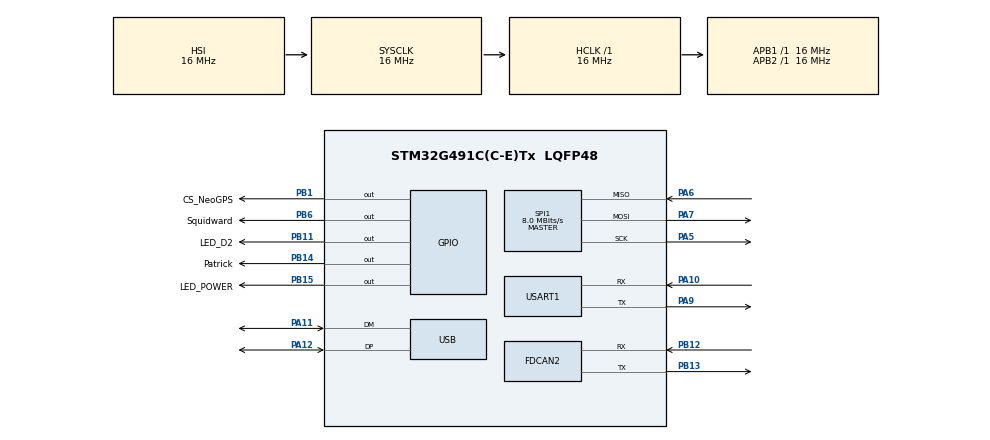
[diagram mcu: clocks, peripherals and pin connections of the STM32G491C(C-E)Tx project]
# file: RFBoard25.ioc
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FDCAN2.CalculateBaudRateNominal=200000
FDCAN2.CalculateTimeBitNominal=5000
FDCAN2.CalculateTimeQuantumNominal=62.5
FDCAN2.DataSyncJumpWidth=4
FDCAN2.DataTimeSeg1=13
FDCAN2.DataTimeSeg2=2
FDCAN2.ExtFiltersNbr=1
FDCAN2.FrameFormat=FDCAN_FRAME_FD_BRS
FDCAN2.NominalPrescaler=1
FDCAN2.NominalTimeSeg1=63
FDCAN2.NominalTimeSeg2=16
FDCAN2.StdFiltersNbr=1
FREERTOS.Tasks01=readData,24,512,StartReadData,Default,NULL,Dynamic,NULL,NULL
FREERTOS.configENABLE_FPU=1
FREERTOS.configTOTAL_HEAP_SIZE=64000
FREERTOS.configUSE_NEWLIB_REENTRANT=1
Mcu.Family=STM32G4
Mcu.Name=STM32G491C(C-E)Tx
Mcu.Package=LQFP48
NVIC.PriorityGroup=NVIC_PRIORITYGROUP_4
NVIC.TIM1_UP_TIM16_IRQn=true\:15\:0\:false\:false\:true\:false\:false\:true\:true
NVIC.TimeBase=TIM1_UP_TIM16_IRQn
NVIC.TimeBaseIP=TIM1
NVIC.USB_LP_IRQn=true\:5\:0\:false\:false\:true\:true\:false\:true\:true
PA10.Mode=Asynchronous
PA10.Signal=USART1_RX
PA11.Mode=Device
PA11.Signal=USB_DM
PA12.Mode=Device
PA12.Signal=USB_DP
PA5.Mode=Full_Duplex_Master
PA5.Signal=SPI1_SCK
PA6.Mode=Full_Duplex_Master
PA6.Signal=SPI1_MISO
PA7.Mode=Full_Duplex_Master
PA7.Signal=SPI1_MOSI
PA9.Mode=Asynchronous
PA9.Signal=USART1_TX
PB1.GPIO_Label=CS_NeoGPS
PB1.Signal=GPIO_Output
PB11.GPIO_Label=LED_D2
PB11.Signal=GPIO_Output
PB12.Mode=FDCAN_Activate
PB12.Signal=FDCAN2_RX
PB13.Mode=FDCAN_Activate
PB13.Signal=FDCAN2_TX
PB14.GPIO_Label=Patrick
PB14.Signal=GPIO_Output
PB15.GPIO_Label=LED_POWER
PB15.Signal=GPIO_Output
PB6.GPIO_Label=Squidward
PB6.Signal=GPIO_Output
PC14-OSC32_IN.Mode=LSE-External-Oscillator
PC14-OSC32_IN.Signal=RCC_OSC32_IN
PC15-OSC32_OUT.Mode=LSE-External-Oscillator
PC15-OSC32_OUT.Signal=RCC_OSC32_OUT
PF0-OSC_IN.Mode=HSE-External-Oscillator
PF0-OSC_IN.Signal=RCC_OSC_IN
PF1-OSC_OUT.Mode=HSE-External-Oscillator
PF1-OSC_OUT.Signal=RCC_OSC_OUT
ProjectManager.HeapSize=0x200
ProjectManager.StackSize=0x400
ProjectManager.TargetToolchain=STM32CubeIDE
RCC.AHBFreq_Value=16000000
RCC.APB1Freq_Value=16000000
RCC.APB1TimFreq_Value=16000000
RCC.APB2Freq_Value=16000000
RCC.APB2TimFreq_Value=16000000
RCC.CortexFreq_Value=16000000
RCC.EXTERNAL_CLOCK_VALUE=12288000
RCC.HCLKFreq_Value=16000000
RCC.HSE_VALUE=8000000
RCC.HSI48_VALUE=48000000
RCC.HSI_VALUE=16000000
RCC.SYSCLKFreq_VALUE=16000000
RCC.VCOOutputFreq_Value=128000000
SPI1.CalculateBaudRate=8.0 MBits/s
SPI1.DataSize=SPI_DATASIZE_8BIT
SPI1.Direction=SPI_DIRECTION_2LINES
SPI1.Mode=SPI_MODE_MASTER
SPI1.VirtualType=VM_MASTER
USART1.VirtualMode-Asynchronous=VM_ASYNC
USB_DEVICE.CLASS_NAME_FS=CDC
USB_DEVICE.VirtualMode=Cdc
USB_DEVICE.VirtualModeFS=Cdc_FS
VP_FREERTOS_VS_CMSIS_V2.Mode=CMSIS_V2
VP_SYS_VS_DBSignals.Mode=DisableDeadBatterySignals
VP_SYS_VS_tim1.Mode=TIM1
VP_USB_DEVICE_VS_USB_DEVICE_CDC_FS.Mode=CDC_FS
board=custom

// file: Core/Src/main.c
/* USER CODE BEGIN Header */
/**
  ******************************************************************************
  * @file           : main.c
  * @brief          : Main program body
  ******************************************************************************
  * @attention
  *
  * Copyright (c) 2025 STMicroelectronics.
  * All rights reserved.
  *
  * This software is licensed under terms that can be found in the LICENSE file
  * in the root directory of this software component.
  * If no LICENSE file comes with this software, it is provided AS-IS.
  *
  ******************************************************************************
  */
/* USER CODE END Header */
#include "main.h"
#include "cmsis_os.h"
#include "usb_device.h"

/* USER CODE BEGIN Includes */
#include "usbd_cdc_if.h"
#include <stdarg.h>
/* USER CODE END Includes */

/* USER CODE BEGIN PD */
#define PRINT_BUFFER_SIZE 256
/* USER CODE END PD */

FDCAN_HandleTypeDef hfdcan2;

SPI_HandleTypeDef hspi1;

UART_HandleTypeDef huart1;

/* Definitions for readData */
osThreadId_t readDataHandle;
const osThreadAttr_t readData_attributes = {
  .name = "readData",
  .priority = (osPriority_t) osPriorityNormal,
  .stack_size = 512 * 4
};

void SystemClock_Config(void);
static void MX_GPIO_Init(void);
static void MX_SPI1_Init(void);
static void MX_USART1_UART_Init(void);
static void MX_FDCAN2_Init(void);
void StartReadData(void *argument);

/* USER CODE BEGIN PFP */
void CDC_Transmit_Print(const char *format, ...)
{
    char buf[PRINT_BUFFER_SIZE];
    va_list  args;
    va_start(args, format);
    int len = vsnprintf(buf, sizeof(buf), format, args);
    va_end(args);
    if (len <= 0) {
        return;
    }
    if (len > (PRINT_BUFFER_SIZE - 1)) {
        len = PRINT_BUFFER_SIZE - 1;
    }
    CDC_Transmit_FS((uint8_t*)buf, (uint16_t)len);
}
/* USER CODE END PFP */

int main(void)
{

  /* MCU Configuration--------------------------------------------------------*/

  /* Reset of all peripherals, Initializes the Flash interface and the Systick. */
  HAL_Init();

  /* Configure the system clock */
  SystemClock_Config();

  /* Initialize all configured peripherals */
  MX_GPIO_Init();
  MX_SPI1_Init();
  MX_USART1_UART_Init();
  MX_FDCAN2_Init();
  HAL_GPIO_WritePin(LED_POWER_GPIO_Port, LED_POWER_Pin, GPIO_PIN_SET);
  /* USER CODE BEGIN 2 */
  FDCAN_FilterTypeDef rxFilter = {
      .IdType       = FDCAN_STANDARD_ID,
      .FilterIndex  = 0,
      .FilterType   = FDCAN_FILTER_MASK,
      .FilterConfig = FDCAN_FILTER_TO_RXFIFO0,
      .FilterID1    = 0x111,
      .FilterID2    = 0x7FF
  };
  if (HAL_FDCAN_ConfigFilter(&hfdcan2, &rxFilter) != HAL_OK) {
      Error_Handler();
  }
  // Start CAN
  if (HAL_FDCAN_Start(&hfdcan2) != HAL_OK) {
      Error_Handler();
  }
  /* USER CODE END 2 */

  /* Init scheduler */
  osKernelInitialize();

  /* Create the thread(s) */
  /* creation of readData */
  readDataHandle = osThreadNew(StartReadData, NULL, &readData_attributes);

  /* Start scheduler */
  osKernelStart();

  /* We should never get here as control is now taken by the scheduler */

  /* Infinite loop */
  while (1)
  {

  }
}

void SystemClock_Config(void)
{
  RCC_OscInitTypeDef RCC_OscInitStruct = {0};
  RCC_ClkInitTypeDef RCC_ClkInitStruct = {0};

  /** Configure the main internal regulator output voltage
  */
  HAL_PWREx_ControlVoltageScaling(PWR_REGULATOR_VOLTAGE_SCALE1);

  /** Initializes the RCC Oscillators according to the specified parameters
  * in the RCC_OscInitTypeDef structure.
  */
  RCC_OscInitStruct.OscillatorType = RCC_OSCILLATORTYPE_HSI|RCC_OSCILLATORTYPE_HSI48;
  RCC_OscInitStruct.HSIState = RCC_HSI_ON;
  RCC_OscInitStruct.HSICalibrationValue = RCC_HSICALIBRATION_DEFAULT;
  RCC_OscInitStruct.HSI48State = RCC_HSI48_ON;
  RCC_OscInitStruct.PLL.PLLState = RCC_PLL_NONE;
  if (HAL_RCC_OscConfig(&RCC_OscInitStruct) != HAL_OK)
  {
    Error_Handler();
  }

  /** Initializes the CPU, AHB and APB buses clocks
  */
  RCC_ClkInitStruct.ClockType = RCC_CLOCKTYPE_HCLK|RCC_CLOCKTYPE_SYSCLK
                              |RCC_CLOCKTYPE_PCLK1|RCC_CLOCKTYPE_PCLK2;
  RCC_ClkInitStruct.SYSCLKSource = RCC_SYSCLKSOURCE_HSI;
  RCC_ClkInitStruct.AHBCLKDivider = RCC_SYSCLK_DIV1;
  RCC_ClkInitStruct.APB1CLKDivider = RCC_HCLK_DIV1;
  RCC_ClkInitStruct.APB2CLKDivider = RCC_HCLK_DIV1;

  if (HAL_RCC_ClockConfig(&RCC_ClkInitStruct, FLASH_LATENCY_0) != HAL_OK)
  {
    Error_Handler();
  }
}

static void MX_FDCAN2_Init(void)
{

  hfdcan2.Instance = FDCAN2;
  hfdcan2.Init.ClockDivider = FDCAN_CLOCK_DIV1;
  hfdcan2.Init.FrameFormat = FDCAN_FRAME_FD_BRS;
  hfdcan2.Init.Mode = FDCAN_MODE_NORMAL;
  hfdcan2.Init.AutoRetransmission = DISABLE;
  hfdcan2.Init.TransmitPause = DISABLE;
  hfdcan2.Init.ProtocolException = DISABLE;
  hfdcan2.Init.NominalPrescaler = 1;
  hfdcan2.Init.NominalSyncJumpWidth = 1;
  hfdcan2.Init.NominalTimeSeg1 = 63;
  hfdcan2.Init.NominalTimeSeg2 = 16;
  hfdcan2.Init.DataPrescaler = 1;
  hfdcan2.Init.DataSyncJumpWidth = 4;
  hfdcan2.Init.DataTimeSeg1 = 13;
  hfdcan2.Init.DataTimeSeg2 = 2;
  hfdcan2.Init.StdFiltersNbr = 1;
  hfdcan2.Init.ExtFiltersNbr = 1;
  hfdcan2.Init.TxFifoQueueMode = FDCAN_TX_FIFO_OPERATION;
  if (HAL_FDCAN_Init(&hfdcan2) != HAL_OK)
  {
    Error_Handler();
  }

}

static void MX_SPI1_Init(void)
{

  /* SPI1 parameter configuration*/
  hspi1.Instance = SPI1;
  hspi1.Init.Mode = SPI_MODE_MASTER;
  hspi1.Init.Direction = SPI_DIRECTION_2LINES;
  hspi1.Init.DataSize = SPI_DATASIZE_8BIT;
  hspi1.Init.CLKPolarity = SPI_POLARITY_LOW;
  hspi1.Init.CLKPhase = SPI_PHASE_1EDGE;
  hspi1.Init.NSS = SPI_NSS_SOFT;
  hspi1.Init.BaudRatePrescaler = SPI_BAUDRATEPRESCALER_2;
  hspi1.Init.FirstBit = SPI_FIRSTBIT_MSB;
  hspi1.Init.TIMode = SPI_TIMODE_DISABLE;
  hspi1.Init.CRCCalculation = SPI_CRCCALCULATION_DISABLE;
  hspi1.Init.CRCPolynomial = 7;
  hspi1.Init.CRCLength = SPI_CRC_LENGTH_DATASIZE;
  hspi1.Init.NSSPMode = SPI_NSS_PULSE_ENABLE;
  if (HAL_SPI_Init(&hspi1) != HAL_OK)
  {
    Error_Handler();
  }

}

static void MX_USART1_UART_Init(void)
{

  huart1.Instance = USART1;
  huart1.Init.BaudRate = 115200;
  huart1.Init.WordLength = UART_WORDLENGTH_8B;
  huart1.Init.StopBits = UART_STOPBITS_1;
  huart1.Init.Parity = UART_PARITY_NONE;
  huart1.Init.Mode = UART_MODE_TX_RX;
  huart1.Init.HwFlowCtl = UART_HWCONTROL_NONE;
  huart1.Init.OverSampling = UART_OVERSAMPLING_16;
  huart1.Init.OneBitSampling = UART_ONE_BIT_SAMPLE_DISABLE;
  huart1.Init.ClockPrescaler = UART_PRESCALER_DIV1;
  huart1.AdvancedInit.AdvFeatureInit = UART_ADVFEATURE_NO_INIT;
  if (HAL_UART_Init(&huart1) != HAL_OK)
  {
    Error_Handler();
  }
  if (HAL_UARTEx_SetTxFifoThreshold(&huart1, UART_TXFIFO_THRESHOLD_1_8) != HAL_OK)
  {
    Error_Handler();
  }
  if (HAL_UARTEx_SetRxFifoThreshold(&huart1, UART_RXFIFO_THRESHOLD_1_8) != HAL_OK)
  {
    Error_Handler();
  }
  if (HAL_UARTEx_DisableFifoMode(&huart1) != HAL_OK)
  {
    Error_Handler();
  }

}

static void MX_GPIO_Init(void)
{
  GPIO_InitTypeDef GPIO_InitStruct = {0};

  /* GPIO Ports Clock Enable */
  __HAL_RCC_GPIOC_CLK_ENABLE();
  __HAL_RCC_GPIOF_CLK_ENABLE();
  __HAL_RCC_GPIOA_CLK_ENABLE();
  __HAL_RCC_GPIOB_CLK_ENABLE();

  /*Configure GPIO pin Output Level */
  HAL_GPIO_WritePin(GPIOB, CS_NeoGPS_Pin|LED_D2_Pin|Patrick_Pin|LED_POWER_Pin
                          |Squidward_Pin, GPIO_PIN_RESET);

  /*Configure GPIO pins : CS_NeoGPS_Pin LED_D2_Pin Patrick_Pin LED_POWER_Pin
                           Squidward_Pin */
  GPIO_InitStruct.Pin = CS_NeoGPS_Pin|LED_D2_Pin|Patrick_Pin|LED_POWER_Pin
                          |Squidward_Pin;
  GPIO_InitStruct.Mode = GPIO_MODE_OUTPUT_PP;
  GPIO_InitStruct.Pull = GPIO_NOPULL;
  GPIO_InitStruct.Speed = GPIO_SPEED_FREQ_LOW;
  HAL_GPIO_Init(GPIOB, &GPIO_InitStruct);

}

void StartReadData(void *argument)
{
    FDCAN_RxHeaderTypeDef rxHeader;
    uint8_t rxData[16];
    MX_USB_Device_Init();

    for (;;) {
        /* Poll for new CAN frames */
        uint32_t fill = HAL_FDCAN_GetRxFifoFillLevel(&hfdcan2, FDCAN_RX_FIFO0);
        if (fill > 0) {
            if (HAL_FDCAN_GetRxMessage(&hfdcan2, FDCAN_RX_FIFO0, &rxHeader, rxData) == HAL_OK) {
                if (rxHeader.Identifier == 0x111 && rxHeader.DataLength == FDCAN_DLC_BYTES_16) {
                    float *v = (float *)rxData;
                    CDC_Transmit_Print("Voltages: %.3f, %.3f, %.3f, %.3f\r\n",
                                      v[0], v[1], v[2], v[3]);
                }
            }
        }
        osDelay(50);
    }
}

void HAL_TIM_PeriodElapsedCallback(TIM_HandleTypeDef *htim)
{
  if (htim->Instance == TIM1) {
    HAL_IncTick();
  }
}

void Error_Handler(void)
{
  __disable_irq();
  while (1)
  {
  }
}
